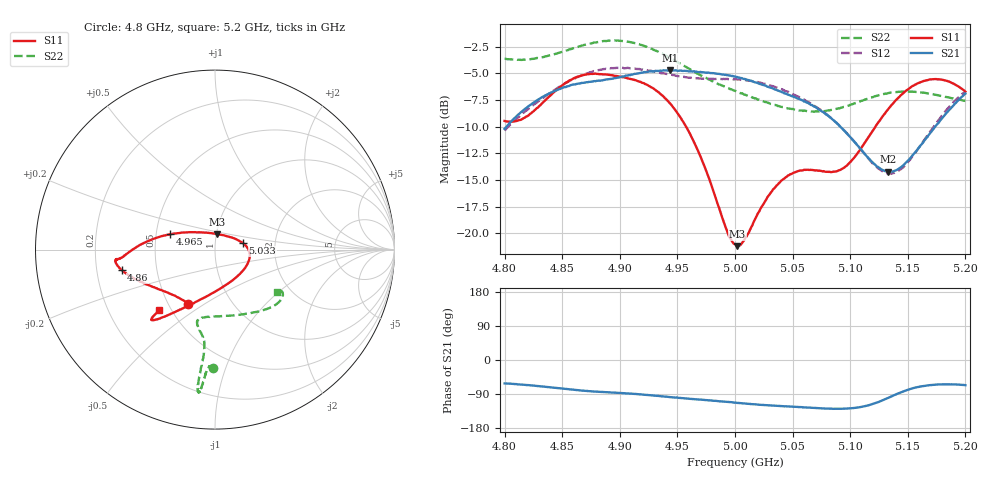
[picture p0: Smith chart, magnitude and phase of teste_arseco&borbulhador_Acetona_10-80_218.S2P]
! Network Analyzer HP8722D
! Hewlett-Packard
! Data name: Linha & Wilkinson
! Saver's name: Rodrigo Anjos
! Comments: Teste da utilização de aquisição
! continua pelo VNA HP8722D
! Time and date: 17/4/2025 16:10
!  Frequency  S11  S21  S12  S22
# HZ  S  MA R 50
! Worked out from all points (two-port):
!   401 points, 4.8 GHz to 5.2 GHz, reference 50 ohm
!   highest |S21| = -4.71 dB at 4.944 GHz (marker M1); lowest = -14.2 dB at 5.133 GHz (marker M2)
!   |S21| within 3 dB of the highest: 4.826 GHz to 5.062 GHz (236.1 MHz wide, 4.77 % of centre); 5.192324 GHz to end of sweep
!   lowest |S11| = -21.2 dB at 5.002 GHz (marker M3), VSWR 1.19, Z = 50.6 + j8.77 ohm
!   |S11| at or under -10 dB: 4.957 GHz to 5.122 GHz (164.4 MHz wide, 3.26 % of centre)
!   |S22| runs from -8.6 to -1.9 dB; largest |S21 - S12| = 0.87
!   S11 on the Smith chart (normalised r, x): 4.8 GHz: 0.63, -0.43; 4.86 GHz: 0.31, -0.10; 4.965 GHz: 0.59, +0.11; 5.033 GHz: 1.37, +0.10; 5.2 GHz: 0.43, -0.37
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4.8e9  0.3359 -116.1  0.3086 -61.9  0.3031 -176.2  0.6574 -91.1
4.819e9  0.353 -136.1  0.3872 -66.0  0.3762 -175.5  0.6526 -92.7
4.86e9  0.5327 -167.6  0.4985 -78.7  0.5288 -178.7  0.737 -95.0
4.867e9  0.5493 -170.3  0.5065 -80.9  0.5495 179.9  0.7572 -95.3
4.9e9  0.5424 -174.5  0.5395 -87.0  0.5955 173.7  0.7982 -96.8
4.934e9  0.4562 179.7  0.5764 -95.0  0.5677 170.4  0.7051 -97.0
4.944e9  0.4041 175.2  0.5813 -98.0  0.5529 170.6  0.6624 -96.7
4.965e9  0.2636 161.2  0.5737 -103.5  0.5334 172.5  0.5696 -96.1
4.993e9  0.103 114.5  0.551 -110.4  0.5288 174.6  0.4822 -98.6
5e9  0.08879 89.2  0.5424 -112.6  0.5272 174.7  0.4648 -100.0
5.002e9  0.08704 81.1  0.5397 -113.3  0.5252 174.7  0.4614 -100.5
5.009e9  0.09522 55.9  0.5277 -114.8  0.5226 174.6  0.4456 -101.9
5.033e9  0.1605 13.2  0.477 -120.3  0.489 173.3  0.4016 -103.5
5.048e9  0.1893 -1.4  0.4425 -122.8  0.455 172.8  0.3835 -99.6
5.067e9  0.1981 -21.8  0.3989 -126.3  0.403 172.5  0.3725 -89.1
5.096e9  0.2057 -72.1  0.2979 -128.2  0.2987 174.7  0.3929 -66.3
5.121e9  0.3104 -110.2  0.2107 -114.8  0.2087 -169.6  0.4375 -49.5
5.133e9  0.3814 -119.5  0.1943 -99.9  0.1905 -153.0  0.4538 -43.6
5.134e9  0.387 -120.3  0.1944 -98.6  0.1905 -151.6  0.4547 -43.2
5.147e9  0.4579 -126.3  0.2104 -81.8  0.2065 -132.4  0.4617 -38.3
5.168e9  0.5239 -131.4  0.2883 -66.8  0.292 -113.1  0.4509 -33.2
5.2e9  0.4609 -132.7  0.451 -66.4  0.4633 -108.5  0.4166 -34.6
